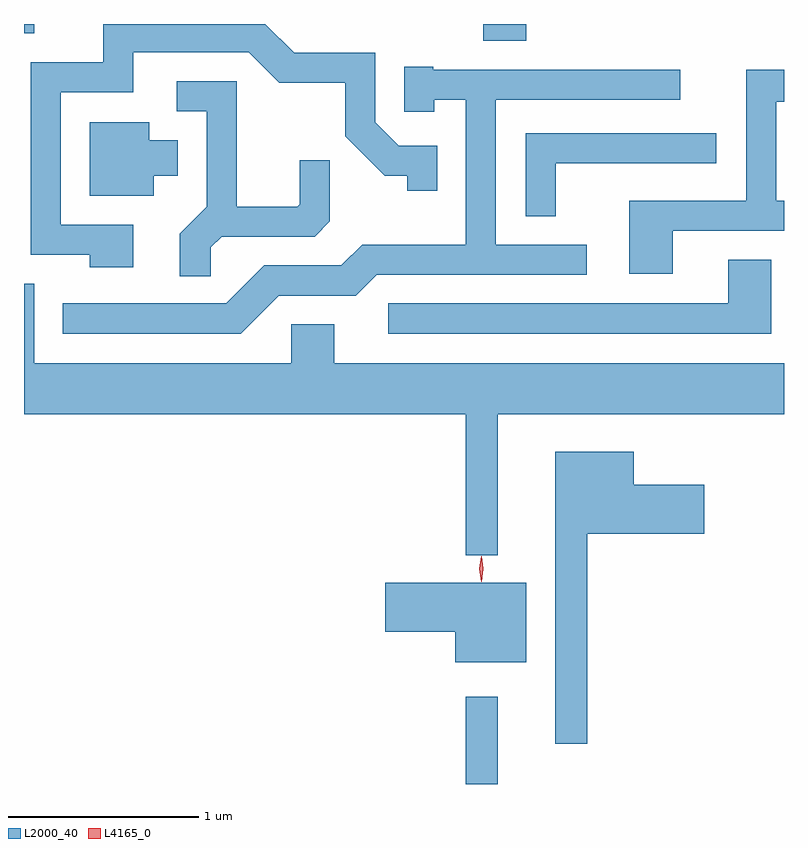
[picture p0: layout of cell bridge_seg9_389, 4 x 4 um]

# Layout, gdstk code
import gdstk
lib = gdstk.Library(unit=1e-6, precision=1e-09)
def R(c, l, rs):  # rectangles x0, y0, x1, y1
    for r in rs: c.add(gdstk.rectangle(r[:2], r[2:], *l))
def P(c, l, *ps):  # polygons
    for p in ps: c.add(gdstk.Polygon(p, *l))
L2000_40 = (2000, 40)
L4165_0 = (4165, 0)

bridge_seg9_389 = lib.new_cell('bridge_seg9_389')
R(bridge_seg9_389, L2000_40, [(628.271,2063.13,628.439,2063.588), (628.361,2067.041,628.589,2067.13), (625.945,2067.081,625.999,2067.13)])
P(bridge_seg9_389, L2000_40, [(626.519,2066.074),(626.139,2066.074),(626.139,2066.771),(626.519,2066.771),(626.519,2066.981),(627.129,2066.981),(627.289,2066.821),(627.636,2066.821),(627.636,2066.539),(627.844,2066.331),(627.961,2066.331),(627.961,2066.253),(628.119,2066.253),(628.119,2066.489),(627.917,2066.489),(627.794,2066.612),(627.794,2066.979),(627.367,2066.979),(627.216,2067.13),(626.361,2067.13),(626.361,2066.929),(625.981,2066.929),(625.981,2065.916),(626.291,2065.916),(626.291,2065.851),(626.519,2065.851)],
  [(627.287,2065.701),(627.692,2065.701),(627.802,2065.811),(628.908,2065.811),(628.908,2065.969),(628.429,2065.969),(628.429,2066.731),(629.398,2066.731),(629.398,2066.889),(628.1,2066.889),(628.1,2066.904),(627.946,2066.904),(627.946,2066.668),(628.104,2066.668),(628.104,2066.731),(628.271,2066.731),(628.271,2065.969),(627.724,2065.969),(627.614,2065.859),(627.209,2065.859),(627.009,2065.659),(626.148,2065.659),(626.148,2065.501),(627.087,2065.501)],
  [(629.359,2066.041),(629.945,2066.041),(629.945,2066.199),(629.904,2066.199),(629.904,2066.721),(629.945,2066.721),(629.945,2066.889),(629.746,2066.889),(629.746,2066.199),(629.131,2066.199),(629.131,2065.816),(629.359,2065.816)],
  [(626.929,2065.954),(626.987,2066.011),(627.474,2066.011),(627.554,2066.092),(627.554,2066.413),(627.396,2066.413),(627.396,2066.182),(627.384,2066.169),(627.064,2066.169),(627.064,2066.829),(626.748,2066.829),(626.748,2066.671),(626.906,2066.671),(626.906,2066.167),(626.766,2066.027),(626.766,2065.803),(626.929,2065.803)],
  [(626.629,2066.331),(626.754,2066.331),(626.754,2066.519),(626.604,2066.519),(626.604,2066.614),(626.291,2066.614),(626.291,2066.226),(626.629,2066.226)],
  [(628.744,2066.396),(629.588,2066.396),(629.588,2066.554),(628.586,2066.554),(628.586,2066.117),(628.744,2066.117)],
  [(629.879,2065.889),(629.651,2065.889),(629.651,2065.659),(627.863,2065.659),(627.863,2065.501),(629.879,2065.501)],
  [(628.439,2065.076),(629.945,2065.076),(629.945,2065.344),(627.579,2065.344),(627.579,2065.549),(627.351,2065.549),(627.351,2065.344),(625.999,2065.344),(625.999,2065.764),(625.945,2065.764),(625.945,2065.076),(628.271,2065.076),(628.271,2064.333),(628.439,2064.333)],
  [(628.909,2064.446),(629.524,2064.446),(629.524,2064.704),(629.154,2064.704),(629.154,2064.879),(628.741,2064.879),(628.741,2063.343),(628.909,2063.343)],
  [(628.589,2064.189),(627.846,2064.189),(627.846,2063.931),(628.216,2063.931),(628.216,2063.771),(628.589,2063.771)])
P(bridge_seg9_389, L4165_0, [(628.352,2064.2),(628.352,2064.2),(628.342,2064.263),(628.352,2064.326),(628.352,2064.327),(628.353,2064.326),(628.362,2064.263),(628.353,2064.2)],
  [(628.352,2064.194),(628.352,2064.194),(628.342,2064.262),(628.352,2064.33),(628.352,2064.33),(628.353,2064.33),(628.362,2064.262),(628.353,2064.194)])

lib.write_gds('bridge_seg9_389.gds')
